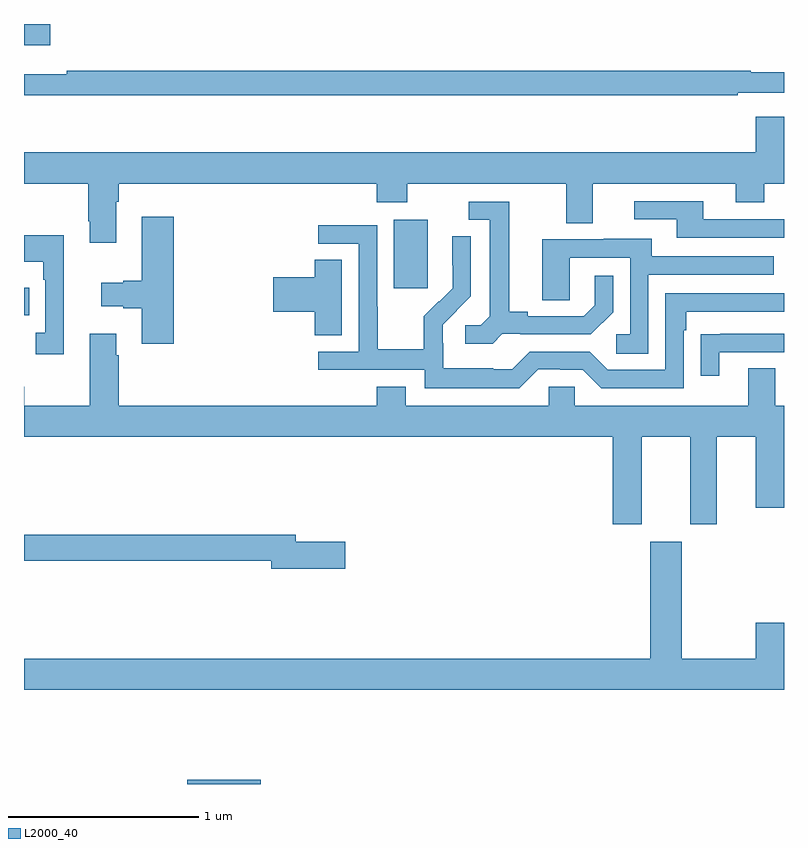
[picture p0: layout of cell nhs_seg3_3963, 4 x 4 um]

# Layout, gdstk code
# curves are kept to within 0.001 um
import gdstk
lib = gdstk.Library(unit=1e-6, precision=1e-09)
def R(c, l, rs):  # rectangles x0, y0, x1, y1
    for r in rs: c.add(gdstk.rectangle(r[:2], r[2:], *l))
def P(c, l, *ps):  # polygons
    for p in ps: c.add(gdstk.Polygon(p, *l))
L2000_40 = (2000, 40)

nhs_seg3_3963 = lib.new_cell('nhs_seg3_3963')
R(nhs_seg3_3963, L2000_40, [(317.858,720.4,318.247,720.423), (317,722.866,317.027,723.013), (318.947,723.009,319.126,723.37), (317,724.289,317.137,724.4)])
P(nhs_seg3_3963, L2000_40, [(320.756,724.038),(321,724.038),(321,724.147),(320.824,724.147),(320.824,724.154),(317.224,724.154),(317.224,724.135),(317,724.135),(317,724.026),(320.756,724.026)],
  [(317.485,723.464),(317.498,723.464),(317.498,723.56),(318.857,723.56),(318.857,723.461),(319.017,723.461),(319.017,723.56),(319.853,723.56),(319.853,723.352),(319.993,723.352),(319.993,723.56),(320.747,723.56),(320.747,723.461),(320.895,723.461),(320.895,723.56),(321,723.56),(321,723.913),(320.852,723.913),(320.852,723.724),(317,723.724),(317,723.56),(317.338,723.56),(317.338,723.361),(317.345,723.361),(317.345,723.249),(317.485,723.249)],
  [(321,723.372),(320.575,723.372),(320.575,723.468),(320.211,723.468),(320.211,723.372),(320.435,723.372),(320.435,723.276),(321,723.276)],
  [(319.518,722.769),(319.612,722.769),(319.612,722.766),(319.984,722.766),(320.1,722.882),(320.1,723.076),(320.003,723.076),(320.003,722.919),(319.946,722.862),(319.651,722.862),(319.651,722.885),(319.555,722.885),(319.555,723.465),(319.341,723.465),(319.341,723.369),(319.451,723.369),(319.451,722.861),(319.404,722.814),(319.323,722.814),(319.323,722.717),(319.466,722.717)],
  [(317.789,723.385),(317.621,723.385),(317.621,723.05),(317.522,723.05),(317.522,723.037),(317.406,723.037),(317.406,722.915),(317.522,722.915),(317.522,722.903),(317.621,722.903),(317.621,722.718),(317.789,722.718)],
  [(319.707,722.583),(319.823,722.583),(319.823,722.58),(319.941,722.58),(320.037,722.484),(320.472,722.484),(320.472,722.789),(320.485,722.789),(320.485,722.886),(321,722.886),(321,722.982),(320.376,722.982),(320.376,722.58),(320.073,722.58),(319.977,722.676),(319.662,722.676),(319.569,722.583),(319.469,722.583),(319.469,722.587),(319.206,722.587),(319.206,722.721),(319.204,722.721),(319.204,722.818),(319.35,722.966),(319.35,723.284),(319.254,723.284),(319.254,723.13),(319.256,723.13),(319.256,723.008),(319.185,722.937),(319.182,722.94),(319.105,722.863),(319.105,722.689),(318.861,722.689),(318.861,722.912),(318.858,722.912),(318.858,723.342),(318.549,723.342),(318.549,723.243),(318.762,723.243),(318.762,722.676),(318.549,722.676),(318.549,722.58),(319.11,722.58),(319.11,722.483),(319.607,722.483)],
  [(317.21,723.289),(317,723.289),(317,723.149),(317.1,723.149),(317.1,723.053),(317.112,723.053),(317.112,722.774),(317.061,722.774),(317.061,722.661),(317.21,722.661)],
  [(320.286,723.081),(320.945,723.081),(320.945,723.177),(320.305,723.177),(320.305,723.271),(320.051,723.271),(320.051,723.267),(319.727,723.267),(319.727,722.947),(319.872,722.947),(319.872,723.171),(320.19,723.171),(320.19,722.766),(320.118,722.766),(320.118,722.665),(320.286,722.665)],
  [(318.673,723.158),(318.53,723.158),(318.53,723.068),(318.312,723.068),(318.312,722.885),(318.53,722.885),(318.53,722.761),(318.673,722.761)],
  [(320.251,722.228),(320.507,722.228),(320.507,721.767),(320.647,721.767),(320.647,722.228),(320.852,722.228),(320.852,721.854),(321,721.854),(321,722.392),(320.953,722.392),(320.953,722.587),(320.813,722.587),(320.813,722.392),(319.899,722.392),(319.899,722.49),(319.761,722.49),(319.761,722.392),(319.009,722.392),(319.009,722.491),(318.857,722.491),(318.857,722.392),(317.498,722.392),(317.498,722.657),(317.485,722.657),(317.485,722.77),(317.345,722.77),(317.345,722.392),(317.001,722.392),(317.001,722.491),(317,722.491),(317,722.228),(320.099,722.228),(320.099,721.767),(320.251,721.767)],
  [(320.659,722.673),(321,722.673),(321,722.769),(320.665,722.769),(320.665,722.768),(320.563,722.768),(320.563,722.55),(320.659,722.55)],
  [(318.691,721.676),(318.43,721.676),(318.43,721.712),(317,721.712),(317,721.576),(318.302,721.576),(318.302,721.534),(318.691,721.534)],
  [(321,721.249),(320.852,721.249),(320.852,721.06),(320.461,721.06),(320.461,721.675),(320.297,721.675),(320.297,721.06),(317,721.06),(317,720.896),(321,720.896)])

lib.write_gds('nhs_seg3_3963.gds')
